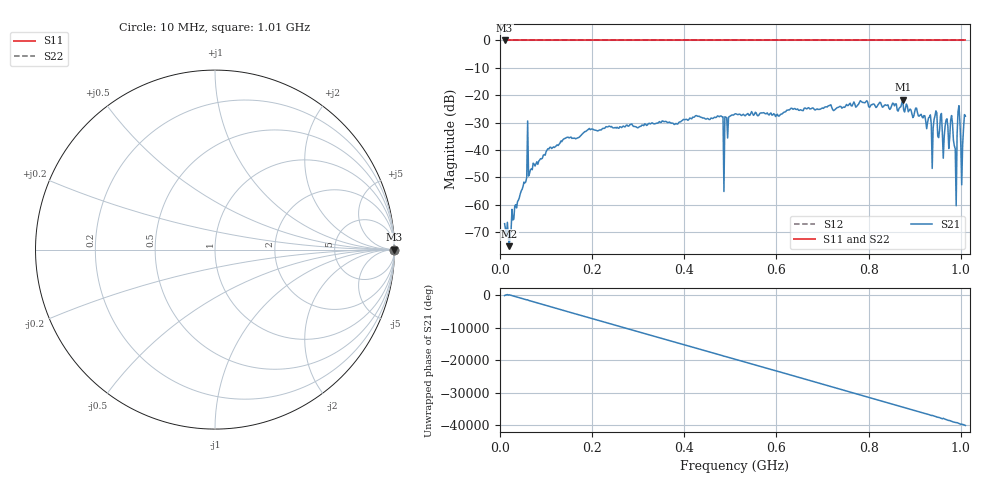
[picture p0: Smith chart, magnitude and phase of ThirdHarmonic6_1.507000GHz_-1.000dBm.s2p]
! 8/16/2025 5:44:05 PM
! C:\ANRITSUVNA\TEMP\TEMP.S2P
! CHANNEL.1
! TR.MEASUREMENT
! RAW.DATA
! RF.CORRECTION.OFF
! AVERAGING.OFF
! IF.BANDWIDTH: 5KHZ
! SWEEPTYPE:  FREQ.SWEEP(Linear)
! Reference Plane Port Info
! PORT:  PORT1  PORT2
! DISTANCE:  0  m  0  m
! TIME:  0  s  0  s
! PHASE.OFFSET:  0  deg.  0  deg.
! LOSS:  0  dB  0  dB
! REF.LOSS:  0  dB  0  dB
! REF.FREQ:  0  Hz  0  Hz
! Power Info
! POWER:  -20  dBm  -20  dBm
! EFF.POWER:  -20  dBm  -20  dBm
! SOURCE.ATTEN:  0  dB  0  dB
! TEST.ATTEN:  0  dB  0  dB
# GHZ S RI R 50.0
! FREQ.GHZ  S11RE  S11IM  S21RE  S21IM  S12RE  S12IM  S22RE  S22IM
!; PortSelection: Port_12
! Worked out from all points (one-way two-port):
!   501 points, 10 MHz to 1.01 GHz, reference 50 ohm
!   highest |S21| = -21.58 dB at 874 MHz (marker M1); lowest = -75.1 dB at 20 MHz (marker M2)
!   lowest |S11| = 0.0 dB at 10 MHz (marker M3)
!   |S11| at or under -10 dB: nowhere
!   |S22| runs from 0.0 to 0.0 dB; largest |S21 - S12| = 1.1
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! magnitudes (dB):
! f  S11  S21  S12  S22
! 10 MHz  0.0  -66.9  0.0  0.0
! 20 MHz  0.0  -75.1  0.0  0.0
! 64 MHz  0.0  -48.7  0.0  0.0
! 66 MHz  0.0  -47.3  0.0  0.0
! 178 MHz  0.0  -34.2  0.0  0.0
! 344 MHz  0.0  -30.0  0.0  0.0
! 480 MHz  0.0  -27.6  0.0  0.0
! 482 MHz  0.0  -27.9  0.0  0.0
! 490 MHz  0.0  -28.0  0.0  0.0
! 492 MHz  0.0  -28.2  0.0  0.0
! 510 MHz  0.0  -26.8  0.0  0.0
! 678 MHz  0.0  -24.6  0.0  0.0
! 844 MHz  0.0  -24.7  0.0  0.0
! 874 MHz  0.0  -21.6  0.0  0.0
! 938 MHz  0.0  -46.7  0.0  0.0
! 944 MHz  0.0  -27.6  0.0  0.0
! 964 MHz  0.0  -35.2  0.0  0.0
! 980 MHz  0.0  -27.4  0.0  0.0
! 988 MHz  0.0  -39.6  0.0  0.0
! 996 MHz  0.0  -23.8  0.0  0.0
! 1.002 GHz  0.0  -52.7  0.0  0.0
! 1.01 GHz  0.0  -27.6  0.0  0.0
